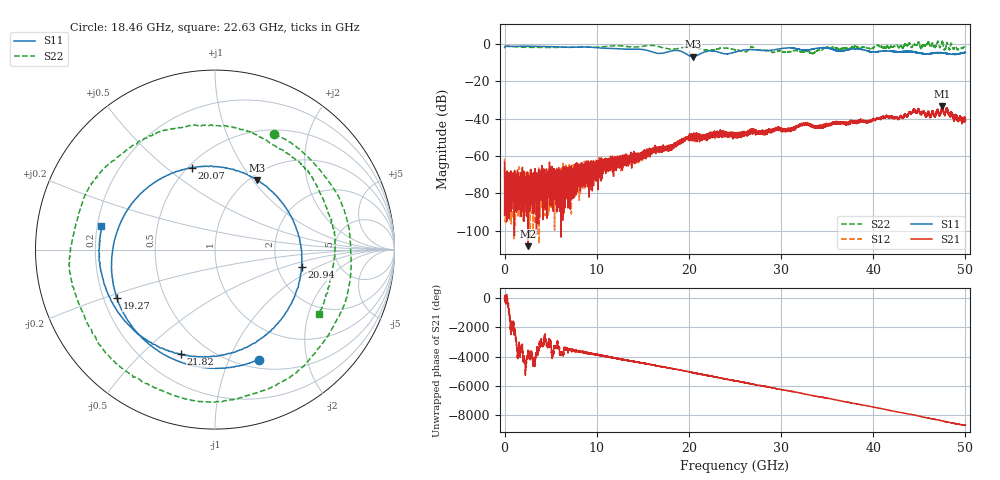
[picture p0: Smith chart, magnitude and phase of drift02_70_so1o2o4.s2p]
!Created with skrf (http://scikit-rf.org).
# Hz S RI R 50.0
!freq ReS11 ImS11 ReS21 ImS21 ReS12 ImS12 ReS22 ImS22
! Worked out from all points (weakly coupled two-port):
!   10001 points, 300 kHz to 50 GHz, reference 50 ohm
!   highest |S21| = -33.28 dB at 47.5 GHz (marker M1); lowest = -108.3 dB at 2.545 GHz (marker M2)
!   lowest |S11| = -6.9 dB at 20.41 GHz (marker M3), VSWR 2.65, Z = 54.3 + j52.6 ohm
!   |S11| at or under -10 dB: nowhere
!   |S22| runs from -5.4 to 1.7 dB; largest |S21 - S12| = 0.0031
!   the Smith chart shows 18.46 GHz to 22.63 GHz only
!   S11 on the Smith chart (normalised r, x): 18.46 GHz: 0.60, -1.29; 19.27 GHz: 0.25, -0.22; 20.07 GHz: 0.52, +0.62; 20.94 GHz: 2.74, -0.71; 21.82 GHz: 0.36, -0.66; 22.63 GHz: 0.22, +0.10
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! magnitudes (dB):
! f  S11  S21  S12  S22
! 300 kHz  -2.1  -63.3  -61.5  -1.3
! 255.3 MHz  -1.4  -82.4  -74.7  -1.4
! 2.545 GHz  -1.4  -108.3  -74.5  -1.9
! 5.615 GHz  -1.7  -72.6  -70.0  -2.0
! 7.255 GHz  -1.9  -68.3  -66.4  -1.9
! 8.335 GHz  -1.7  -63.7  -71.2  -1.9
! 16.67 GHz  -5.2  -57.6  -57.1  -1.5
! 18.46 GHz  -3.6  -53.9  -54.5  -2.8
! 19.27 GHz  -4.3  -52.6  -52.2  -2.1
! 20.07 GHz  -6.5  -48.1  -50.8  -1.5
! 20.41 GHz  -6.9  -50.2  -50.3  -1.7
! 20.94 GHz  -6.1  -50.2  -50.6  -2.2
! 21.82 GHz  -4.2  -49.7  -48.3  -3.5
! 22.63 GHz  -3.8  -49.2  -48.4  -3.3
! 25 GHz  -4.5  -49.2  -48.7  -3.2
! 26.11 GHz  -3.3  -48.6  -48.1  -4.3
! 26.9 GHz  -3.2  -46.8  -46.9  -1.7
! 33.34 GHz  -3.0  -43.8  -43.8  -5.2
! 34.89 GHz  -2.2  -43.4  -43.5  -2.3
! 41.67 GHz  -4.0  -39.3  -39.1  -2.0
! 47.5 GHz  -4.8  -33.3  -33.7  1.2
! 50 GHz  -4.7  -41.3  -41.9  -1.5
